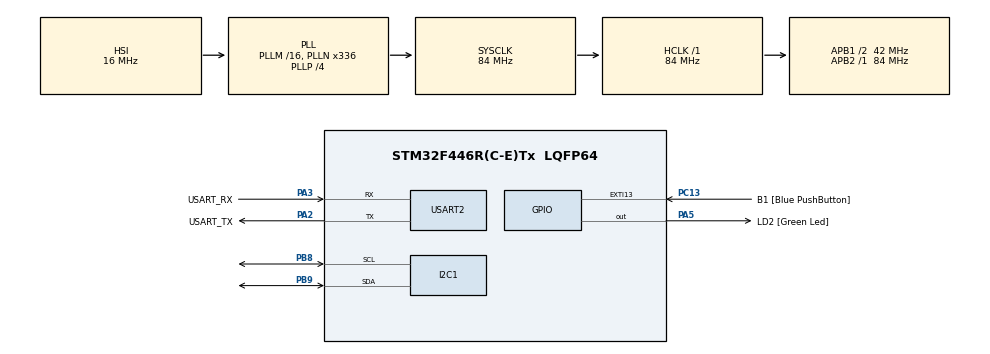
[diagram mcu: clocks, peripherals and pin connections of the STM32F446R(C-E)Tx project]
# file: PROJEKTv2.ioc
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Mcu.Family=STM32F4
Mcu.Name=STM32F446R(C-E)Tx
Mcu.Package=LQFP64
NVIC.I2C1_ER_IRQn=true\:0\:0\:false\:false\:true\:true\:true\:true
NVIC.I2C1_EV_IRQn=true\:0\:0\:false\:false\:true\:true\:true\:true
NVIC.PriorityGroup=NVIC_PRIORITYGROUP_0
NVIC.USART2_IRQn=true\:0\:0\:false\:false\:true\:true\:true\:true
PA13.GPIO_Label=TMS
PA13.Mode=Serial_Wire
PA13.Signal=SYS_JTMS-SWDIO
PA14.GPIO_Label=TCK
PA14.Mode=Serial_Wire
PA14.Signal=SYS_JTCK-SWCLK
PA2.GPIO_Label=USART_TX
PA2.Mode=Asynchronous
PA2.Signal=USART2_TX
PA3.GPIO_Label=USART_RX
PA3.Mode=Asynchronous
PA3.Signal=USART2_RX
PA5.GPIO_Label=LD2 [Green Led]
PA5.Signal=GPIO_Output
PB3.GPIO_Label=SWO
PB3.Signal=SYS_JTDO-SWO
PB8.GPIO_Pu=GPIO_PULLUP
PB8.Mode=I2C
PB8.Signal=I2C1_SCL
PB9.GPIO_Pu=GPIO_PULLUP
PB9.Mode=I2C
PB9.Signal=I2C1_SDA
PC13.GPIO_Label=B1 [Blue PushButton]
PC13.GPIO_ModeDefaultEXTI=GPIO_MODE_IT_FALLING
PC13.Signal=GPXTI13
PC14-OSC32_IN.Mode=LSE-External-Oscillator
PC14-OSC32_IN.Signal=RCC_OSC32_IN
PC15-OSC32_OUT.Mode=LSE-External-Oscillator
PC15-OSC32_OUT.Signal=RCC_OSC32_OUT
PH0-OSC_IN.Mode=HSE-External-Oscillator
PH0-OSC_IN.Signal=RCC_OSC_IN
PH1-OSC_OUT.Mode=HSE-External-Oscillator
PH1-OSC_OUT.Signal=RCC_OSC_OUT
ProjectManager.HeapSize=0x200
ProjectManager.StackSize=0x400
ProjectManager.TargetToolchain=STM32CubeIDE
RCC.48MHZClocksFreq_Value=84000000
RCC.AHBFreq_Value=84000000
RCC.APB1CLKDivider=RCC_HCLK_DIV2
RCC.APB1Freq_Value=42000000
RCC.APB1TimFreq_Value=84000000
RCC.APB2Freq_Value=84000000
RCC.APB2TimFreq_Value=84000000
RCC.CortexFreq_Value=84000000
RCC.FLatency-AdvancedSettings=FLASH_LATENCY_2
RCC.HCLKFreq_Value=84000000
RCC.HSE_VALUE=8000000
RCC.HSI_VALUE=16000000
RCC.PLLN=336
RCC.PLLP=RCC_PLLP_DIV4
RCC.SYSCLKFreq_VALUE=84000000
RCC.SYSCLKSource=RCC_SYSCLKSOURCE_PLLCLK
RCC.USBFreq_Value=168000000
RCC.VCOOutputFreq_Value=336000000
USART2.VirtualMode=VM_ASYNC
board=NUCLEO-F446RE

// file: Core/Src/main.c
/* USER CODE BEGIN Header */
/**
  ******************************************************************************
  * @file           : main.c
  * @brief          : Main program body
  ******************************************************************************
  * @attention
  *
  * Copyright (c) 2025 STMicroelectronics.
  * All rights reserved.
  *
  * This software is licensed under terms that can be found in the LICENSE file
  * in the root directory of this software component.
  * If no LICENSE file comes with this software, it is provided AS-IS.
  *
  ******************************************************************************
  */
/* USER CODE END Header */
#include "main.h"

/* USER CODE BEGIN Includes */
#include <string.h>
#include <stdio.h>
#include <stdarg.h>
/* USER CODE END Includes */

/* USER CODE BEGIN PD */
#define USART_TXBUF_LEN 220
#define USART_RXBUF_LEN 20
/* USER CODE END PD */

I2C_HandleTypeDef hi2c1;

UART_HandleTypeDef huart2;

/* USER CODE BEGIN PV */

// Bufor nadawczy
uint8_t USART_TxBuf[USART_TXBUF_LEN];
//Bufor odbiorczy
uint8_t USART_RxBuf[USART_RXBUF_LEN];
// Będzie wskazywać na indeks dla pojedynczego chara
uint8_t message_idx;

// Wskaźnik pierwszego wolnego miejsca w buforze nadawczym
volatile int USART_TX_Empty = 0;
// Pierwsze miejsce w buforze, zajmowane przez niewysłany znak
volatile int USART_TX_Busy = 0;
// Wskaźnik pierwszego wolnego miejsca w buforze odbiorczym
volatile int USART_RX_Empty = 0;
// Pierwsze miejsce w buforze, zajmowane przez niewysłany znak
volatile int USART_RX_Busy = 0;

volatile uint16_t frame_lenght;

volatile uint8_t frame[USART_RXBUF_LEN];

/* USER CODE END PV */

void SystemClock_Config(void);
static void MX_GPIO_Init(void);
static void MX_USART2_UART_Init(void);
static void MX_I2C1_Init(void);
/* USER CODE BEGIN PFP */
uint8_t UART_RXisNotEmpty();
uint8_t UART_TXisNotEmpty();
int16_t USART_getchar();
void UART_frame_send(char* format, ...);

/* USER CODE END PFP */

/* USER CODE BEGIN 0 */
// Sprawdzanie czy bufor zawiera jakieś dane
// Czy początek bufora jest równy końcowi
uint8_t UART_RXisNotEmpty(){
	if(USART_RX_Empty==USART_RX_Busy){
		return 0;
	}
	else{
		return 1;
	}
} // UART_RXisNotEmpty

uint8_t UART_TXisNotEmpty(){
	if(USART_TX_Empty==USART_TX_Busy){
		return 0;
	}
	else{
		return 1;
	}
} // UART_TXisNotEmpty

// Zwraca znak z bufora i przechodzi do kolejnego indeksu
// Jeśli osiągnie koniec to wraca na początek buforu
int16_t USART_getchar(){
	int16_t tmp;

	if(USART_RX_Empty!=USART_RX_Busy){
		tmp=USART_RxBuf[USART_RX_Busy];
		USART_RX_Busy++;
		if(USART_RX_Busy >= USART_RXBUF_LEN) {USART_RX_Busy=0;}
			return tmp;
	}
	else return -1;
} //USART_getchar

// Odbiera pełną linię danych z buforu do napotkania znaku nowej linii
// (o kodzie ASCII 10 lub 13)
uint8_t USART_getline(char *buf){
	static uint8_t bf[128];
	static uint8_t index=0;
	int i;
	uint8_t line_length;
	while(UART_RXisNotEmpty()){
		bf[index]=USART_getchar();
		//USART_fsend("[%02X]", bf[idx]);
		if(((bf[index]==10)||(bf[index]==13))){
			bf[index]=0;
			for(i=0;i<=index;i++){
				buf[i]=bf[i]; // przekopiuj do bufora
			}
			line_length=index;
			index=0;
			return line_length; //odebrano dlugosc linii
		}
		else{
			index++;
			if(index>=128)index=0;
		}
	}
	return 0;
}// USART_getline

void UART_frame_send(char* format, ...){
	char tmp_rs[128];
	int i;
	__IO int index;
	va_list arglist;
		va_start(arglist, format);
		vsprintf(tmp_rs, format, arglist);
		va_end(arglist);
		index=USART_TX_Empty;
		for(i=0;i<strlen(tmp_rs);i++){
			USART_TxBuf[index]=tmp_rs[i];
			index++;
			if(index >= USART_TXBUF_LEN)index=0;
		}
		__disable_irq();
		if((!UART_TXisNotEmpty())&&(__HAL_UART_GET_FLAG(&huart2, UART_FLAG_TXE)==SET)){
			USART_TX_Empty = index;
			uint8_t tmp = USART_TxBuf[USART_TX_Busy];
			USART_TX_Busy++;

			if(USART_TX_Busy >= USART_TXBUF_LEN) USART_TX_Busy = 0;
			HAL_UART_Transmit_IT(&huart2, &tmp, 1);

		} else {
			USART_TX_Empty = index;
		}
__enable_irq();
} //UART_frame_send

void HAL_UART_TxCpltCallback(UART_HandleTypeDef *huart){
	if(huart == &huart2) {
		if(UART_TXisNotEmpty()) {
			uint8_t tmp = USART_TxBuf[USART_TX_Busy];
			USART_TX_Busy++;
			if(USART_TX_Busy >= USART_TXBUF_LEN) USART_TX_Busy = 0;
			// Transmisja znaku z jakiej tablicy do jakiej i ilośc znaków
			HAL_UART_Transmit_IT(&huart2, &tmp, 1);
		}
	}
}
//UART_TxCpltCallback
// Wykona się po odebraniu jakiegoś znaku
void HAL_UART_RxCpltCallback(UART_HandleTypeDef *huart) {
	if(huart == &huart2) {
		// Włączenie nasłuchiwanie znaku
		HAL_UART_Transmit(&huart2, &USART_RxBuf[USART_RX_Empty], 1, 999);
		USART_RX_Empty++;
		if(USART_RX_Empty >= USART_RXBUF_LEN) USART_RX_Empty = 0;
		HAL_UART_Receive_IT(&huart2, &USART_RxBuf[USART_RX_Empty], 1);
	}
}
// UART_RxCpltCallback
/* USER CODE END 0 */

int main(void)
{

  /* MCU Configuration--------------------------------------------------------*/

  /* Reset of all peripherals, Initializes the Flash interface and the Systick. */
  HAL_Init();

  /* Configure the system clock */
  SystemClock_Config();

  /* Initialize all configured peripherals */
  MX_GPIO_Init();
  MX_USART2_UART_Init();
  MX_I2C1_Init();
  /* USER CODE BEGIN 2 */
  // Inicjalizacja odbierania danych przez UART
  HAL_UART_Receive_IT(&huart2, &USART_RxBuf[0], 1);  // Inicjalizacja odbierania danych przez interfejs UART

  // Inicjalizacja czujnika BME280
   BME280_Init(&bme_handle, &hi2c1);
  /* USER CODE END 2 */

  /* Infinite loop */
  /* USER CODE BEGIN WHILE */
  while (1)
  {
	  ReceiveFrame();
	  BME280_Task(&bme_handle);
    /* USER CODE END WHILE */

  }
}

void SystemClock_Config(void)
{
  RCC_OscInitTypeDef RCC_OscInitStruct = {0};
  RCC_ClkInitTypeDef RCC_ClkInitStruct = {0};

  /** Configure the main internal regulator output voltage
  */
  __HAL_RCC_PWR_CLK_ENABLE();
  __HAL_PWR_VOLTAGESCALING_CONFIG(PWR_REGULATOR_VOLTAGE_SCALE3);

  /** Initializes the RCC Oscillators according to the specified parameters
  * in the RCC_OscInitTypeDef structure.
  */
  RCC_OscInitStruct.OscillatorType = RCC_OSCILLATORTYPE_HSI;
  RCC_OscInitStruct.HSIState = RCC_HSI_ON;
  RCC_OscInitStruct.HSICalibrationValue = RCC_HSICALIBRATION_DEFAULT;
  RCC_OscInitStruct.PLL.PLLState = RCC_PLL_ON;
  RCC_OscInitStruct.PLL.PLLSource = RCC_PLLSOURCE_HSI;
  RCC_OscInitStruct.PLL.PLLM = 16;
  RCC_OscInitStruct.PLL.PLLN = 336;
  RCC_OscInitStruct.PLL.PLLP = RCC_PLLP_DIV4;
  RCC_OscInitStruct.PLL.PLLQ = 2;
  RCC_OscInitStruct.PLL.PLLR = 2;
  if (HAL_RCC_OscConfig(&RCC_OscInitStruct) != HAL_OK)
  {
    Error_Handler();
  }

  /** Initializes the CPU, AHB and APB buses clocks
  */
  RCC_ClkInitStruct.ClockType = RCC_CLOCKTYPE_HCLK|RCC_CLOCKTYPE_SYSCLK
                              |RCC_CLOCKTYPE_PCLK1|RCC_CLOCKTYPE_PCLK2;
  RCC_ClkInitStruct.SYSCLKSource = RCC_SYSCLKSOURCE_PLLCLK;
  RCC_ClkInitStruct.AHBCLKDivider = RCC_SYSCLK_DIV1;
  RCC_ClkInitStruct.APB1CLKDivider = RCC_HCLK_DIV2;
  RCC_ClkInitStruct.APB2CLKDivider = RCC_HCLK_DIV1;

  if (HAL_RCC_ClockConfig(&RCC_ClkInitStruct, FLASH_LATENCY_2) != HAL_OK)
  {
    Error_Handler();
  }
}

static void MX_I2C1_Init(void)
{

  hi2c1.Instance = I2C1;
  hi2c1.Init.ClockSpeed = 100000;
  hi2c1.Init.DutyCycle = I2C_DUTYCYCLE_2;
  hi2c1.Init.OwnAddress1 = 0;
  hi2c1.Init.AddressingMode = I2C_ADDRESSINGMODE_7BIT;
  hi2c1.Init.DualAddressMode = I2C_DUALADDRESS_DISABLE;
  hi2c1.Init.OwnAddress2 = 0;
  hi2c1.Init.GeneralCallMode = I2C_GENERALCALL_DISABLE;
  hi2c1.Init.NoStretchMode = I2C_NOSTRETCH_DISABLE;
  if (HAL_I2C_Init(&hi2c1) != HAL_OK)
  {
    Error_Handler();
  }

}

static void MX_USART2_UART_Init(void)
{

  huart2.Instance = USART2;
  huart2.Init.BaudRate = 115200;
  huart2.Init.WordLength = UART_WORDLENGTH_8B;
  huart2.Init.StopBits = UART_STOPBITS_1;
  huart2.Init.Parity = UART_PARITY_NONE;
  huart2.Init.Mode = UART_MODE_TX_RX;
  huart2.Init.HwFlowCtl = UART_HWCONTROL_NONE;
  huart2.Init.OverSampling = UART_OVERSAMPLING_16;
  if (HAL_UART_Init(&huart2) != HAL_OK)
  {
    Error_Handler();
  }

}

static void MX_GPIO_Init(void)
{
  GPIO_InitTypeDef GPIO_InitStruct = {0};

  /* GPIO Ports Clock Enable */
  __HAL_RCC_GPIOC_CLK_ENABLE();
  __HAL_RCC_GPIOH_CLK_ENABLE();
  __HAL_RCC_GPIOA_CLK_ENABLE();
  __HAL_RCC_GPIOB_CLK_ENABLE();

  /*Configure GPIO pin Output Level */
  HAL_GPIO_WritePin(LD2_GPIO_Port, LD2_Pin, GPIO_PIN_RESET);

  /*Configure GPIO pin : B1_Pin */
  GPIO_InitStruct.Pin = B1_Pin;
  GPIO_InitStruct.Mode = GPIO_MODE_IT_FALLING;
  GPIO_InitStruct.Pull = GPIO_NOPULL;
  HAL_GPIO_Init(B1_GPIO_Port, &GPIO_InitStruct);

  /*Configure GPIO pin : LD2_Pin */
  GPIO_InitStruct.Pin = LD2_Pin;
  GPIO_InitStruct.Mode = GPIO_MODE_OUTPUT_PP;
  GPIO_InitStruct.Pull = GPIO_NOPULL;
  GPIO_InitStruct.Speed = GPIO_SPEED_FREQ_LOW;
  HAL_GPIO_Init(LD2_GPIO_Port, &GPIO_InitStruct);

}

void Error_Handler(void)
{
  __disable_irq();
  while (1)
  {
  }
}
